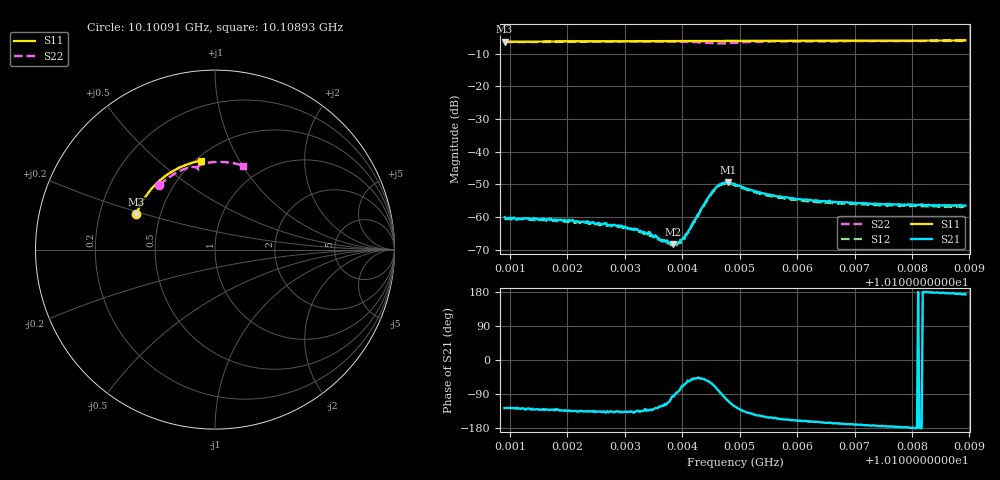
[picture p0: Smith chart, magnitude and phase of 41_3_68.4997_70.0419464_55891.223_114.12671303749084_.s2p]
#  HZ  S  RI  R  50.00
! Rohde & Schwarz Vector Network Analyzer
! Rohde-Schwarz,ZNB20-2Port,1311601062101988,3.16
! Created: UTC 3/20/2024, 5:05:36 PM
! freq[Hz]  re:S11  im:S11  re:S21  im:S21  re:S12  im:S12  re:S22  im:S22
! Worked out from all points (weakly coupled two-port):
!   401 points, 10.10091 GHz to 10.10893 GHz, reference 50 ohm
!   highest |S21| = -49.35 dB at 10.1048 GHz (marker M1); lowest = -68.3 dB at 10.10384 GHz (marker M2)
!   lowest |S11| = -6.4 dB at 10.10091 GHz (marker M3), VSWR 2.86, Z = 18.2 + j9.38 ohm
!   |S11| at or under -10 dB: nowhere
!   |S22| runs from -6.9 to -6.1 dB; largest |S21 - S12| = 0.00035
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1.0100907e10  -0.4388 0.1979  -0.000598 -0.000797  -0.000503 -0.000812  -0.3106 0.358
1.010205e10  -0.4089 0.2607  -0.000606 -0.000632  -0.000555 -0.000661  -0.253 0.4049
1.010225e10  -0.4029 0.2714  -0.00059 -0.000601  -0.000541 -0.000618  -0.242 0.4123
1.0102852e10  -0.3827 0.3019  -0.000524 -0.000522  -0.000502 -0.00053  -0.2076 0.432
1.0103053e10  -0.3756 0.3118  -0.000486 -0.00046  -0.000445 -0.000505  -0.1957 0.4381
1.0103193e10  -0.3704 0.3186  -0.000464 -0.000452  -0.000401 -0.000471  -0.1871 0.4421
1.0103454e10  -0.3606 0.3308  -0.000349 -0.000408  -0.00031 -0.000406  -0.1706 0.4489
1.0103594e10  -0.355 0.3374  -0.000258 -0.000393  -0.000225 -0.000399  -0.1613 0.4523
1.0103835e10  -0.3452 0.3482  -3.23e-05 -0.000382  -4.56e-05 -0.000393  -0.1445 0.4572
1.0103935e10  -0.3411 0.3527  5.11e-05 -0.00041  9.34e-05 -0.000388  -0.1373 0.459
1.0103996e10  -0.3387 0.3553  0.000167 -0.000427  0.000196 -0.000405  -0.1326 0.4597
1.0104056e10  -0.336 0.358  0.000247 -0.000476  0.000291 -0.000441  -0.1279 0.4604
1.0104437e10  -0.3194 0.3741  0.00111 -0.00155  0.00118 -0.00137  -0.0976 0.4533
1.0104557e10  -0.3141 0.3789  0.000956 -0.00246  0.00114 -0.00229  -0.0935 0.4452
1.0104678e10  -0.3088 0.3837  7.47e-05 -0.00323  0.00034 -0.0031  -0.0975 0.4401
1.0104798e10  -0.3031 0.3886  -0.00105 -0.00324  -0.000708 -0.00318  -0.1028 0.4446
1.0104918e10  -0.2977 0.3933  -0.00172 -0.0027  -0.0014 -0.00269  -0.1018 0.4538
1.0105199e10  -0.2846 0.4037  -0.00202 -0.00162  -0.00184 -0.00173  -0.0854 0.4695
1.01056e10  -0.2649 0.4182  -0.0019 -0.000964  -0.00175 -0.00107  -0.0573 0.4801
1.0106262e10  -0.2311 0.4396  -0.00171 -0.000542  -0.00161 -0.000644  -0.0123 0.487
1.0107606e10  -0.1574 0.4739  -0.0016 -0.000128  -0.00149 -0.000264  0.0751 0.4854
1.010893e10  -0.0803 0.4954  -0.00149 0.000181  -0.00142 2.72e-05  0.1581 0.4681
